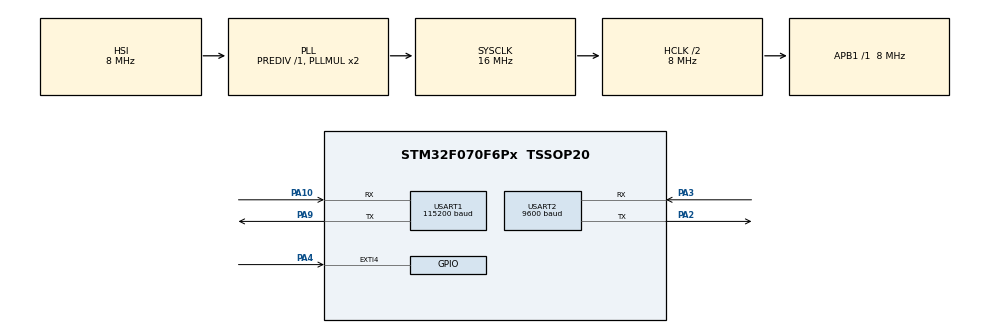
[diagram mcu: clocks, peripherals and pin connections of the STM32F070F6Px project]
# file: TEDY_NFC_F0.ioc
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Mcu.Family=STM32F0
Mcu.Name=STM32F070F6Px
Mcu.Package=TSSOP20
NVIC.EXTI4_15_IRQn=true\:1\:0\:true\:false\:true\:true
NVIC.USART1_IRQn=true\:0\:0\:false\:false\:true\:true
NVIC.USART2_IRQn=true\:2\:0\:true\:false\:true\:true
PA10.Mode=Asynchronous
PA10.Signal=USART1_RX
PA13.Mode=Serial_Wire
PA13.Signal=SYS_SWDIO
PA14.Mode=Serial_Wire
PA14.Signal=SYS_SWCLK
PA2.Mode=Asynchronous
PA2.Signal=USART2_TX
PA3.Mode=Asynchronous
PA3.Signal=USART2_RX
PA4.GPIO_ModeDefaultEXTI=GPIO_MODE_IT_FALLING
PA4.GPIO_PuPd=GPIO_PULLUP
PA4.Signal=GPXTI4
PA9.Mode=Asynchronous
PA9.Signal=USART1_TX
ProjectManager.HeapSize=0x200
ProjectManager.StackSize=0x400
ProjectManager.TargetToolchain=MDK-ARM V5
RCC.AHBCLKDivider=RCC_SYSCLK_DIV2
RCC.AHBFreq_Value=8000000
RCC.APB1Freq_Value=8000000
RCC.APB1TimFreq_Value=8000000
RCC.HCLKFreq_Value=8000000
RCC.HSE_VALUE=16000000
RCC.SYSCLKFreq_VALUE=16000000
RCC.SYSCLKSource=RCC_SYSCLKSOURCE_PLLCLK
USART1.BaudRate=115200
USART1.VirtualMode=VM_ASYNC
USART2.BaudRate=9600
USART2.VirtualMode-Asynchronous=VM_ASYNC
board=custom

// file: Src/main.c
/**
  ******************************************************************************
  * @file           : main.c
  * @brief          : Main program body
  ******************************************************************************
  ** This notice applies to any and all portions of this file
  * that are not between comment pairs USER CODE BEGIN and
  * USER CODE END. Other portions of this file, whether
  * inserted by the user or by software development tools
  * are owned by their respective copyright owners.
  *
  * COPYRIGHT(c) 2019 STMicroelectronics
  *
  * Redistribution and use in source and binary forms, with or without modification,
  * are permitted provided that the following conditions are met:
  *   1. Redistributions of source code must retain the above copyright notice,
  *      this list of conditions and the following disclaimer.
  *   2. Redistributions in binary form must reproduce the above copyright notice,
  *      this list of conditions and the following disclaimer in the documentation
  *      and/or other materials provided with the distribution.
  *   3. Neither the name of STMicroelectronics nor the names of its contributors
  *      may be used to endorse or promote products derived from this software
  *      without specific prior written permission.
  *
  * THIS SOFTWARE IS PROVIDED BY THE COPYRIGHT HOLDERS AND CONTRIBUTORS "AS IS"
  * AND ANY EXPRESS OR IMPLIED WARRANTIES, INCLUDING, BUT NOT LIMITED TO, THE
  * IMPLIED WARRANTIES OF MERCHANTABILITY AND FITNESS FOR A PARTICULAR PURPOSE ARE
  * DISCLAIMED. IN NO EVENT SHALL THE COPYRIGHT HOLDER OR CONTRIBUTORS BE LIABLE
  * FOR ANY DIRECT, INDIRECT, INCIDENTAL, SPECIAL, EXEMPLARY, OR CONSEQUENTIAL
  * DAMAGES (INCLUDING, BUT NOT LIMITED TO, PROCUREMENT OF SUBSTITUTE GOODS OR
  * SERVICES; LOSS OF USE, DATA, OR PROFITS; OR BUSINESS INTERRUPTION) HOWEVER
  * CAUSED AND ON ANY THEORY OF LIABILITY, WHETHER IN CONTRACT, STRICT LIABILITY,
  * OR TORT (INCLUDING NEGLIGENCE OR OTHERWISE) ARISING IN ANY WAY OUT OF THE USE
  * OF THIS SOFTWARE, EVEN IF ADVISED OF THE POSSIBILITY OF SUCH DAMAGE.
  *
  ******************************************************************************
  */
#include "main.h"
#include "stm32f0xx_hal.h"
#include "usart.h"
#include "gpio.h"

/* USER CODE BEGIN Includes */
#include "PN532.h"
#include "NFC_Tag.h"
#include "NDEF_Message.h"
#include "Mifare_Classic.h"
#include "FN_RM01.h"
/* USER CODE END Includes */

/* USER CODE BEGIN PV */
/* Private variables ---------------------------------------------------------*/
struct NFC_Tag tag;
int file_num;
/* USER CODE END PV */

void SystemClock_Config(void);

/* USER CODE BEGIN PFP */
/* Private function prototypes -----------------------------------------------*/

/* USER CODE END PFP */

int main(void)
{

  /* MCU Configuration----------------------------------------------------------*/

  /* Reset of all peripherals, Initializes the Flash interface and the Systick. */
  HAL_Init();

  /* Configure the system clock */
  SystemClock_Config();

  /* Initialize all configured peripherals */
  MX_GPIO_Init();
  MX_USART1_UART_Init();
  MX_USART2_UART_Init();
  /* USER CODE BEGIN 2 */
	HAL_Delay(550);
	HAL_UART_Receive_IT(&huart1,&uart1_rx_temp,1);
	HAL_UART_Receive_IT(&huart2,&uart2_rx_temp,1);

	PN532_WakeUp();
	PN532_SAMConfig();

	FN_RM01_Get_File_Num(&file_num);
	FN_RM01_Play_Sound("powe");
	tag.ndefMessage = malloc(sizeof(struct NDEF_Message));
  /* USER CODE END 2 */

  /* Infinite loop */
  while (1)
  {

  /* USER CODE BEGIN 3 */
		HAL_Delay(300);
		HAL_NVIC_DisableIRQ(EXTI4_15_IRQn);
		if(PN532_InListPassiveTarget(PN532_MIFARE_ISO14443A, &tag))
		{
			if(Mifare_Classic_Read(&tag))
			{
//				char *file_name = (char*)malloc(4);
//				memcpy(file_name,tag.ndefMessage->record[0].payload+3,4);
				FN_RM01_Play_Sound((char*)tag.ndefMessage->record[0].payload+3);
				HAL_Delay(500);
			}
			NFC_Clear_Tag(&tag);
		}
		HAL_NVIC_EnableIRQ(EXTI4_15_IRQn);
  }
  /* USER CODE END 3 */

}

void SystemClock_Config(void)
{

  RCC_OscInitTypeDef RCC_OscInitStruct;
  RCC_ClkInitTypeDef RCC_ClkInitStruct;
  RCC_PeriphCLKInitTypeDef PeriphClkInit;

    /**Initializes the CPU, AHB and APB busses clocks
    */
  RCC_OscInitStruct.OscillatorType = RCC_OSCILLATORTYPE_HSI;
  RCC_OscInitStruct.HSIState = RCC_HSI_ON;
  RCC_OscInitStruct.HSICalibrationValue = 16;
  RCC_OscInitStruct.PLL.PLLState = RCC_PLL_ON;
  RCC_OscInitStruct.PLL.PLLSource = RCC_PLLSOURCE_HSI;
  RCC_OscInitStruct.PLL.PLLMUL = RCC_PLL_MUL2;
  RCC_OscInitStruct.PLL.PREDIV = RCC_PREDIV_DIV1;
  if (HAL_RCC_OscConfig(&RCC_OscInitStruct) != HAL_OK)
  {
    _Error_Handler(__FILE__, __LINE__);
  }

    /**Initializes the CPU, AHB and APB busses clocks
    */
  RCC_ClkInitStruct.ClockType = RCC_CLOCKTYPE_HCLK|RCC_CLOCKTYPE_SYSCLK
                              |RCC_CLOCKTYPE_PCLK1;
  RCC_ClkInitStruct.SYSCLKSource = RCC_SYSCLKSOURCE_PLLCLK;
  RCC_ClkInitStruct.AHBCLKDivider = RCC_SYSCLK_DIV2;
  RCC_ClkInitStruct.APB1CLKDivider = RCC_HCLK_DIV1;

  if (HAL_RCC_ClockConfig(&RCC_ClkInitStruct, FLASH_LATENCY_0) != HAL_OK)
  {
    _Error_Handler(__FILE__, __LINE__);
  }

  PeriphClkInit.PeriphClockSelection = RCC_PERIPHCLK_USART1;
  PeriphClkInit.Usart1ClockSelection = RCC_USART1CLKSOURCE_PCLK1;
  if (HAL_RCCEx_PeriphCLKConfig(&PeriphClkInit) != HAL_OK)
  {
    _Error_Handler(__FILE__, __LINE__);
  }

    /**Configure the Systick interrupt time
    */
  HAL_SYSTICK_Config(HAL_RCC_GetHCLKFreq()/1000);

    /**Configure the Systick
    */
  HAL_SYSTICK_CLKSourceConfig(SYSTICK_CLKSOURCE_HCLK);

  /* SysTick_IRQn interrupt configuration */
  HAL_NVIC_SetPriority(SysTick_IRQn, 0, 0);
}

void _Error_Handler(char *file, int line)
{
  while(1)
  {
  }
}

/************************ (C) COPYRIGHT STMicroelectronics *****END OF FILE****/
